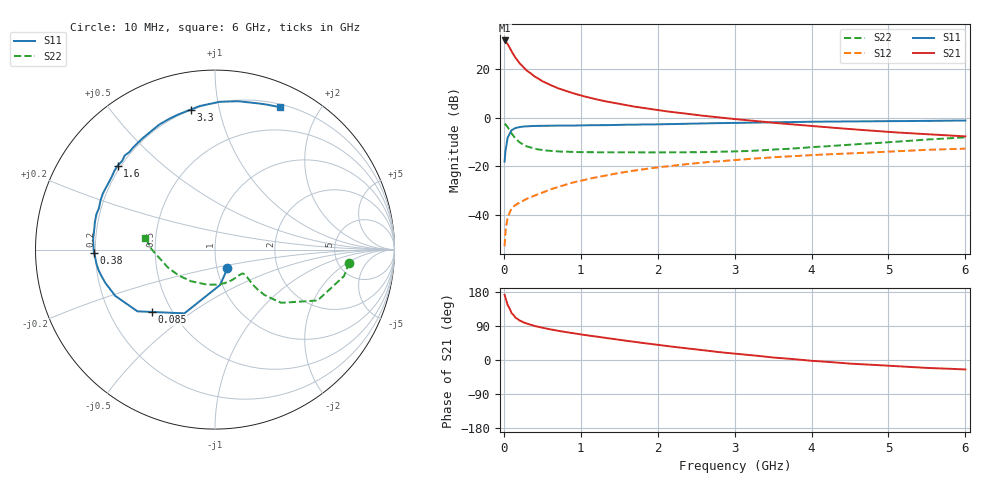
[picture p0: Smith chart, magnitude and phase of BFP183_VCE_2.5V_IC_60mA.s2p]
! Infineon Technologies  Discrete & RF Semiconductors
! BFP183
! VCE = 2.5 V,  IC =  60 mA
! Common Emitter S-Parameters:  Jan 2016
# GHz  S  MA  R  50
!  f  S11  S21  S12  S22
! GHz  MAG  ANG  MAG  ANG  MAG  ANG  MAG  ANG
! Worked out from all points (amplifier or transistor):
!   210 points, 10 MHz to 6 GHz, reference 50 ohm
!   highest |S21| = 31.7 dB at 10 MHz (marker M1)
!   |S21| within 3 dB of that: start of sweep to 75 MHz
!   unconditionally stable (mu >= 1): start of sweep to 35.87 MHz; 188.7 MHz to end of sweep
!   at 185 MHz: K = 0.99, MSG = 29.2 dB, |S12| = -35.2 dB
!   at 1.52 GHz: K = 1.65, MAG = 9.3 dB, |S12| = -22.6 dB
!   at 6 GHz: K = 1.26, MAG = -0.5 dB, |S12| = -12.7 dB
!   S11 on the Smith chart (normalised r, x): 10 MHz: 1.12, -0.24; 85 MHz: 0.39, -0.36; 380 MHz: 0.20, -0.01; 1.6 GHz: 0.19, +0.36; 3.3 GHz: 0.20, +0.82; 6 GHz: 0.23, +1.53
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0.01  0.1253 -56.5  38.37 172.2  0.0023 63.3  0.7511 -5.5
0.02  0.1986 -81.6  37.52 164.6  0.0043 69.8  0.7338 -11.6
0.05  0.3938 -115.6  32.29 144.4  0.009 62.9  0.6377 -26.4
0.085  0.4956 -135.5  25.33 131.5  0.0121 50.7  0.5196 -34.3
0.1  0.5524 -141.5  22.9 123.8  0.0135 47.3  0.473 -38.8
0.15  0.6131 -155.2  17.02 112.1  0.0161 45.7  0.3732 -42.6
0.2  0.6388 -163.2  13.35 104.8  0.0179 48.1  0.315 -43.2
0.26  0.6585 -170.0  10.56 98.9  0.02 50.1  0.275 -42.4
0.3  0.6651 -173.1  9.193 95.8  0.0216 52.3  0.2563 -41.5
0.38  0.6731 -178.4  7.425 91.2  0.0244 54.6  0.2349 -40.6
0.4  0.676 -179.7  6.993 89.7  0.0251 55.1  0.2295 -40.3
0.5  0.6814 175.1  5.605 85.1  0.0289 57.3  0.2156 -40.0
0.6  0.6818 170.9  4.721 80.9  0.0333 59.2  0.2077 -40.3
0.8  0.6895 163.3  3.553 73.8  0.0418 61.3  0.1997 -42.6
1.02  0.6949 156.0  2.797 66.9  0.0513 61.7  0.1956 -46.8
1.6  0.7165 139.2  1.796 50.5  0.0777 59.0  0.1945 -61.4
2.02  0.7303 128.1  1.41 39.5  0.096 55.4  0.1945 -74.3
3.1  0.783 103.5  0.903 14.9  0.1389 44.4  0.2044 -113.1
3.3  0.7919 99.8  0.842 11.0  0.1461 42.3  0.2111 -120.5
4.1  0.8254 86.8  0.654 -3.4  0.1733 34.0  0.2525 -147.3
5.1  0.8478 74.3  0.497 -16.2  0.2035 25.0  0.3199 -173.1
6  0.8715 65.6  0.412 -24.9  0.231 15.4  0.3939 170.4
